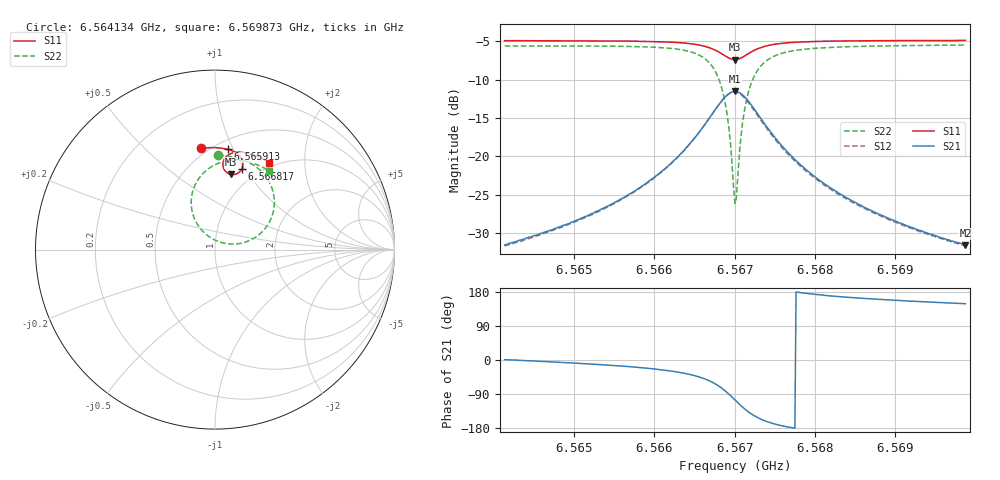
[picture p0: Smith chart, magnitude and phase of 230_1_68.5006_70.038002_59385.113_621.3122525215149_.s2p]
#  HZ  S  RI  R  50.00
! Rohde & Schwarz Vector Network Analyzer
! Rohde-Schwarz,ZNB20-2Port,1311601062101988,3.16
! Created: UTC 3/20/2024, 4:58:54 PM
! freq[Hz]  re:S11  im:S11  re:S21  im:S21  re:S12  im:S12  re:S22  im:S22
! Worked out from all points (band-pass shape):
!   401 points, 6.564134 GHz to 6.569873 GHz, reference 50 ohm
!   highest |S21| = -11.52 dB at 6.567004 GHz (marker M1); lowest = -31.6 dB at 6.569873 GHz (marker M2)
!   |S21| within 3 dB of the highest: 6.566717 GHz to 6.567291 GHz (573.8 kHz wide, 0.00874 % of centre)
!   lowest |S11| = -7.4 dB at 6.567004 GHz (marker M3), VSWR 2.50, Z = 40.5 + j41.6 ohm
!   |S11| at or under -10 dB: nowhere
!   |S22| runs from -26.1 to -5.5 dB; largest |S21 - S12| = 0.012
!   S11 on the Smith chart (normalised r, x): 6.564134 GHz: 0.46, +0.76; 6.565913 GHz: 0.58, +0.95; 6.566817 GHz: 0.84, +0.97; 6.569873 GHz: 0.93, +1.34
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6.5641339e9  -0.0797 0.5635  0.0265 0.000358  0.026 -4.36e-05  0.0192 0.5251
6.5650953e9  -0.00193 0.5681  0.0392 -0.00634  0.0384 -0.007  0.1078 0.5144
6.5659132e9  0.0722 0.5584  0.063 -0.0252  0.0619 -0.0259  0.2073 0.4748
6.5660567e9  0.0869 0.5537  0.0701 -0.0327  0.0688 -0.0335  0.23 0.4596
6.566358e9  0.1204 0.5367  0.089 -0.0611  0.0877 -0.0624  0.2855 0.4033
6.5665732e9  0.145 0.5108  0.1027 -0.1059  0.1006 -0.1079  0.3247 0.3166
6.5667167e9  0.155 0.48  0.0989 -0.1598  0.0951 -0.1627  0.3254 0.2136
6.5668172e9  0.1497 0.4505  0.0725 -0.2106  0.0659 -0.2135  0.2799 0.1181
6.5669033e9  0.1291 0.4267  0.0202 -0.2497  0.0105 -0.2505  0.1846 0.0474
6.566932e9  0.1185 0.4213  -0.00379 -0.2575  -0.0142 -0.2567  0.1413 0.0348
6.5669894e9  0.0941 0.418  -0.057 -0.259  -0.0678 -0.2545  0.0466 0.0367
6.5670037e9  0.0877 0.419  -0.0703 -0.256  -0.081 -0.2505  0.0235 0.0433
6.5670324e9  0.0757 0.4229  -0.0958 -0.2462  -0.1057 -0.2389  -0.0201 0.0637
6.5670898e9  0.0566 0.4381  -0.1374 -0.2141  -0.144 -0.2042  -0.0877 0.125
6.5671329e9  0.0479 0.453  -0.1573 -0.1842  -0.1616 -0.1737  -0.1175 0.18
6.5671902e9  0.044 0.4734  -0.1699 -0.1439  -0.1713 -0.1339  -0.1324 0.2514
6.567262e9  0.0479 0.4953  -0.1697 -0.1011  -0.1686 -0.0926  -0.1239 0.3259
6.5675203e9  0.087 0.5344  -0.1272 -0.022  -0.1245 -0.0184  -0.0274 0.457
6.5679651e9  0.1455 0.5426  -0.0757 0.00805  -0.0739 0.00919  0.0935 0.4972
6.5683956e9  0.188 0.5348  -0.0521 0.0132  -0.0509 0.0138  0.1627 0.4934
6.5689265e9  0.2324 0.5198  -0.0365 0.0143  -0.0356 0.0147  0.2228 0.4772
6.5698735e9  0.3011 0.4852  -0.0225 0.0138  -0.0221 0.0139  0.3025 0.4385
